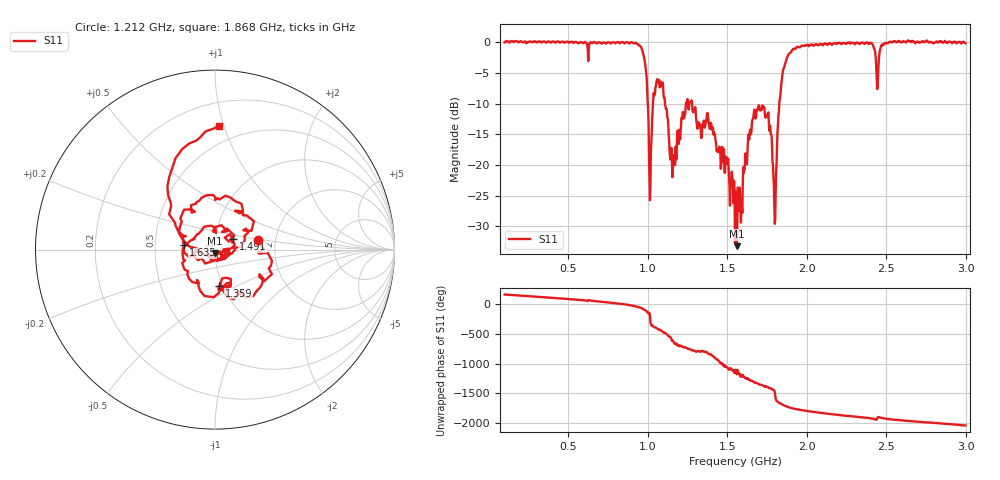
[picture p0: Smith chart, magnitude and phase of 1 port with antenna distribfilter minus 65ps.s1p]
# HZ S RI R 50
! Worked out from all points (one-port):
!   1009 points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, 100 MHz to 2.997 GHz, reference 50 ohm
!   lowest |S11| = -33.2 dB at 1.56 GHz (marker M1), VSWR 1.04, Z = 49.7 - j2.15 ohm
!   |S11| at or under -10 dB: 1 GHz to 1.033 GHz (32.91 MHz wide, 3.24 % of centre); 1.109 GHz to 1.24 GHz (131.8 MHz wide, 11.2 % of centre); 1.278 GHz to 1.827 GHz (548.5 MHz wide, 35.3 % of centre)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
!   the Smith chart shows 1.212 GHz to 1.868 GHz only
!   S11 on the Smith chart (normalised r, x): 1.212 GHz: 1.61, +0.17; 1.359 GHz: 0.97, -0.40; 1.491 GHz: 1.22, +0.14; 1.635 GHz: 0.70, +0.04; 1.868 GHz: 0.37, +0.96
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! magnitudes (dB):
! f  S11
! 100 MHz  0.0
! 462.1 MHz  0.1
! 824.3 MHz  -0.2
! 968 MHz  -1.5
! 988.1 MHz  -4.4
! 1.014 GHz  -25.7
! 1.046 GHz  -8.3
! 1.069 GHz  -6.2
! 1.152 GHz  -18.9
! 1.186 GHz  -14.4
! 1.212 GHz  -12.3
! 1.261 GHz  -10.0
! 1.359 GHz  -13.9
! 1.491 GHz  -18.6
! 1.549 GHz  -32.7
! 1.56 GHz  -33.2
! 1.635 GHz  -15.0
! 1.735 GHz  -11.5
! 1.767 GHz  -13.6
! 1.799 GHz  -29.6
! 1.833 GHz  -8.8
! 1.868 GHz  -3.2
! 1.911 GHz  -1.3
! 2.273 GHz  -0.2
! 2.408 GHz  -0.2
! 2.442 GHz  -7.6
! 2.635 GHz  0.3
! 2.997 GHz  -0.1
